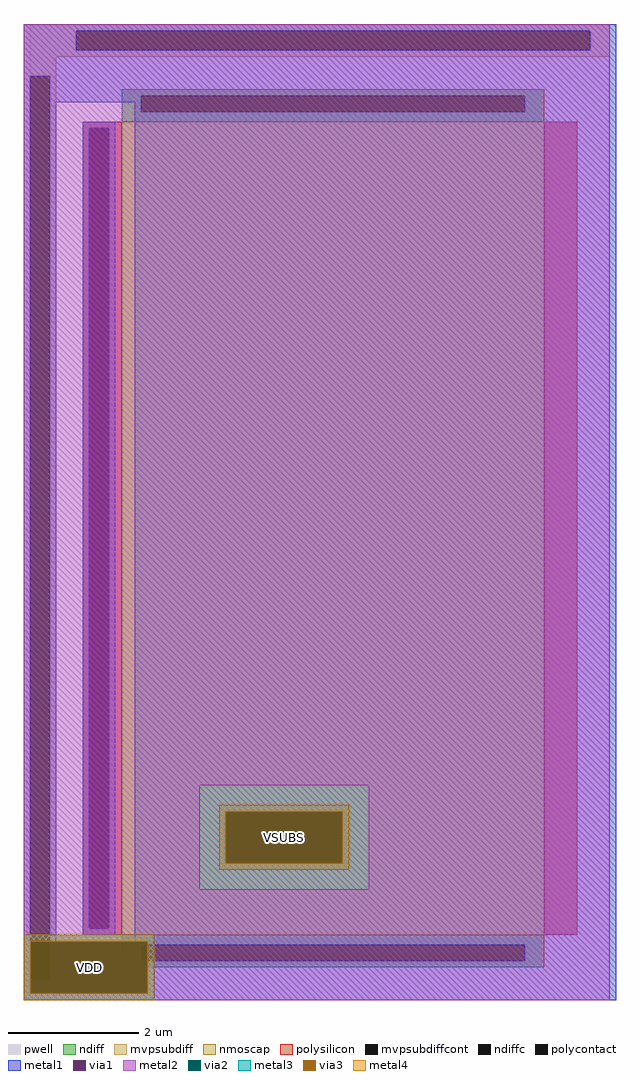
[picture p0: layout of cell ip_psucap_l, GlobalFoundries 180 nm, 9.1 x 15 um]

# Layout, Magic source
magic
tech gf180mcuD
<< pwell >>
rect -18 250 162 280
rect -18 248 138 250
rect 148 248 162 250
rect -18 6 162 248
rect -18 4 138 6
rect 148 4 162 6
rect -18 0 162 4
rect -18 -2 134 0
rect 144 -2 162 0
rect -18 -8 162 -2
rect -20 -20 162 -8
<< mvpsubdiff >>
rect -20 270 160 280
rect -20 -20 -10 270
<< metal1 >>
rect -20 -20 -18 280
<< via1 >>
rect 42 22 78 38
<< metal2 >>
rect -20 46 160 280
rect -20 14 34 46
rect 40 38 80 40
rect 40 22 42 38
rect 78 22 80 38
rect 40 20 80 22
rect 86 14 160 46
rect -20 -2 160 14
rect -20 -18 -18 -2
rect 18 -18 160 -2
rect -20 -20 160 -18
<< via2 >>
rect 42 22 78 38
rect -18 -18 18 -2
<< metal3 >>
rect 40 38 80 40
rect 40 22 42 38
rect 78 22 80 38
rect 40 20 80 22
rect -20 -2 20 0
rect -20 -18 -18 -2
rect 18 -18 20 -2
rect -20 -20 20 -18
<< via3 >>
rect 42 22 78 38
rect -18 -18 18 -2
<< metal4 >>
rect 40 38 80 40
rect 40 22 42 38
rect 78 22 80 38
rect 40 20 80 22
rect -20 -2 20 0
rect -20 -18 -18 -2
rect 18 -18 20 -2
rect -20 -20 20 -18
use nmoscap_3p3_CUSTM1  nmoscap_3p3_CUSTM1_0
transform 1 0 320 0 1 60
box -340 -80 -158 220
<< labels >>
flabel metal4 40 20 80 40 0 FreeSans 160 0 0 0 VSUBS
port 0 nsew
flabel metal4 -20 -20 20 0 0 FreeSans 160 0 0 0 VDD
port 1 nsew
<< end >>

# cell nmoscap_3p3_CUSTM1: kit device nmoscap_3p3, w 6.5 l 12.5 m 1 nf 1 diffcov 100 polycov 100 guard 0 glc 0 grc 0 gtc 0 gbc 0 tbcov 100 rlcov 100 topc 1 botc 0 poverlap 0 doverlap 1 lmin 0.28 wmin 0.22 class mosfet full_metal 0 compatible {nmoscap_3p3 nmoscap_6p0}
